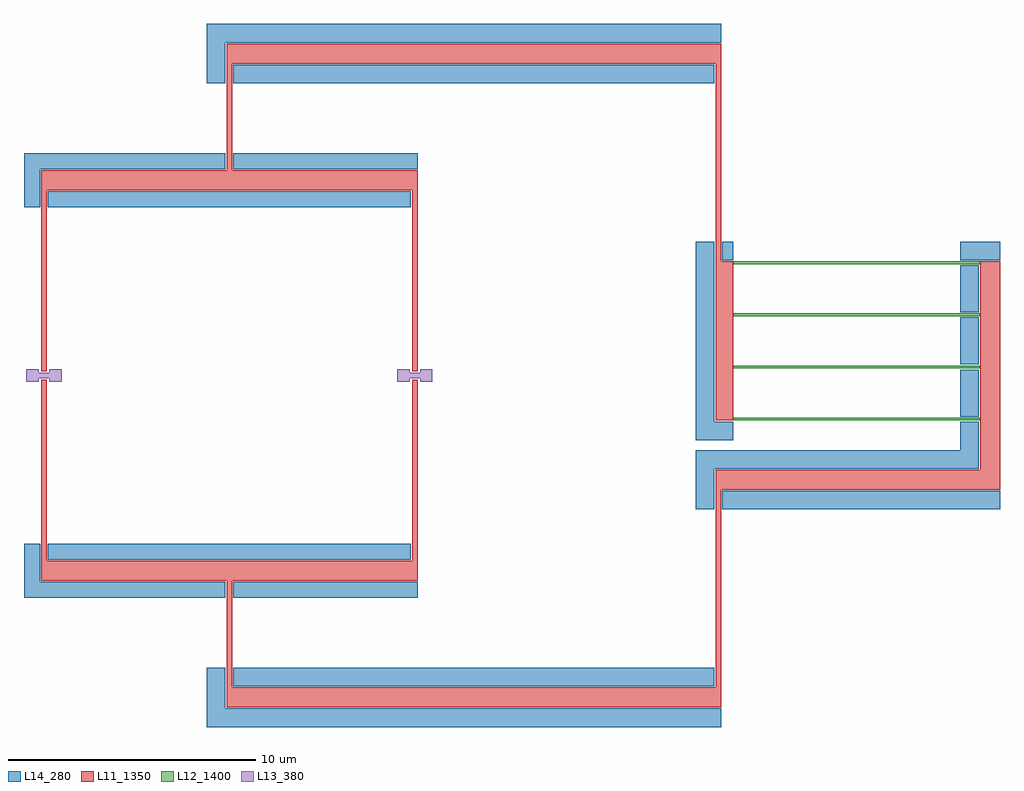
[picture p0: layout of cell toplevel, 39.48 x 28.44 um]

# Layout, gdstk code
from math import pi, radians
import gdstk
lib = gdstk.Library(unit=1e-6, precision=1e-09)
def R(c, l, rs):  # rectangles x0, y0, x1, y1
    for r in rs: c.add(gdstk.rectangle(r[:2], r[2:], *l))
def A(c, l, x, y, w, h, nx, ny, dx, dy):  # array of equal rectangles
    R(c, l, [(x+i*dx, y+j*dy, x+i*dx+w, y+j*dy+h) for i in range(nx) for j in range(ny)])
def P(c, l, *ps):  # polygons
    for p in ps: c.add(gdstk.Polygon(p, *l))
L11_1350 = (11, 1350)
L12_1400 = (12, 1400)
L13_380 = (13, 380)
L14_280 = (14, 280)

boolean010 = lib.new_cell('boolean010')
R(boolean010, L11_1350, [(-0.11,-7.5,0.11,-0.175), (-0.11,0.175,0.11,7.5)])

junction = lib.new_cell('Junction')
junction.add(gdstk.Reference(boolean010, (0,0)))

boolean011 = lib.new_cell('boolean011')
P(boolean011, L13_380, [(-0.71,0.25),(-0.71,-0.25),(-0.21,-0.25),(-0.21,-0.11),(0.21,-0.11),(0.21,-0.25),(0.71,-0.25),(0.71,0.25),(0.21,0.25),(0.21,0.11),(-0.21,0.11),(-0.21,0.25)])

josephson_junction = lib.new_cell('Josephson Junction')
josephson_junction.add(gdstk.Reference(junction, (0,0)))
josephson_junction.add(gdstk.Reference(boolean011, (0,0)))

boolean014 = lib.new_cell('boolean014')
R(boolean014, L11_1350, [(-0.11,-7.5,0.11,-0.175), (-0.11,0.175,0.11,7.5)])

junction013 = lib.new_cell('Junction013')
junction013.add(gdstk.Reference(boolean014, (0,0)))

boolean015 = lib.new_cell('boolean015')
P(boolean015, L13_380, [(-0.71,0.25),(-0.71,-0.25),(-0.21,-0.25),(-0.21,-0.11),(0.21,-0.11),(0.21,-0.25),(0.71,-0.25),(0.71,0.25),(0.21,0.25),(0.21,0.11),(-0.21,0.11),(-0.21,0.25)])

josephson_junction012 = lib.new_cell('Josephson Junction012')
josephson_junction012.add(gdstk.Reference(junction013, (0,0)))
josephson_junction012.add(gdstk.Reference(boolean015, (0,0)))

rectangle016 = lib.new_cell('rectangle016')
R(rectangle016, L11_1350, [(0,0,15.22,0.8)])

island = lib.new_cell('Island')
island.add(gdstk.Reference(rectangle016, (0,0)))

top_island = lib.new_cell('Top island')
top_island.add(gdstk.Reference(island, (-0.11,7.5)))

rectangle018 = lib.new_cell('rectangle018')
R(rectangle018, L11_1350, [(0,0,15.22,0.8)])

island017 = lib.new_cell('Island017')
island017.add(gdstk.Reference(rectangle018, (0,0)))

bot_island = lib.new_cell('Bot island')
bot_island.add(gdstk.Reference(island017, (-0.11,-8.3)))

rectangle019 = lib.new_cell('rectangle019')
R(rectangle019, L11_1350, [(0,-4.32,0.22,0)])

connector = lib.new_cell('Connector')
connector.add(gdstk.Reference(rectangle019, (0,0)))

top_connector = lib.new_cell('Top connector')
top_connector.add(gdstk.Reference(connector, (7.39,12.62)))

rectangle021 = lib.new_cell('rectangle021')
R(rectangle021, L11_1350, [(0,-4.32,0.22,0)])

connector020 = lib.new_cell('Connector020')
connector020.add(gdstk.Reference(rectangle021, (0,0)))

bot_connector = lib.new_cell('Bot connector')
bot_connector.add(gdstk.Reference(connector020, (7.39,-12.62), x_reflection=True))

boolean024 = lib.new_cell('boolean024')
R(boolean024, L14_280, [(7.66,-9,15.11,-8.35), (0.16,-7.45,14.84,-6.8), (0.16,6.8,14.84,7.45), (7.66,8.35,15.11,9)])
P(boolean024, L14_280, [(-0.16,8.35),(7.34,8.35),(7.34,9),(-0.81,9),(-0.81,6.8),(-0.16,6.8)],
  [(-0.81,-6.8),(-0.81,-9),(7.34,-9),(7.34,-8.35),(-0.16,-8.35),(-0.16,-6.8)])

liftoff_undercut023 = lib.new_cell('Liftoff undercut023')
liftoff_undercut023.add(gdstk.Reference(boolean024, (0,0)))

liftoff_undercut022 = lib.new_cell('Liftoff undercut022')
liftoff_undercut022.add(gdstk.Reference(liftoff_undercut023, (0,0)))

squid = lib.new_cell('Squid')
squid.add(gdstk.Reference(josephson_junction, (-7.5,0)))
squid.add(gdstk.Reference(josephson_junction012, (7.5,0)))
squid.add(gdstk.Reference(top_island, (-7.5,0)))
squid.add(gdstk.Reference(bot_island, (-7.5,0)))
squid.add(gdstk.Reference(top_connector, (-7.5,0)))
squid.add(gdstk.Reference(bot_connector, (-7.5,0)))
squid.add(gdstk.Reference(liftoff_undercut022, (-7.5,0)))

rectangle028 = lib.new_cell('rectangle028')
R(rectangle028, L11_1350, [(-0.22,-8,0,0)])

rectangle027 = lib.new_cell('rectangle027')
R(rectangle027, L11_1350, [(-20,0,0,0.8)])

connector026 = lib.new_cell('Connector026')
connector026.add(gdstk.Reference(rectangle027, (0,0)))

boolean029 = lib.new_cell('boolean029')

boolean030 = lib.new_cell('boolean030')
R(boolean030, L14_280, [(0.16,11.82,19.62,12.57)])
P(boolean030, L14_280, [(19.89,13.47),(19.89,14.22),(-0.91,14.22),(-0.91,11.82),(-0.16,11.82),(-0.16,13.47)])

connector025 = lib.new_cell('Connector025')
connector025.add(gdstk.Reference(rectangle028, (19.89,12.62)))
connector025.add(gdstk.Reference(connector026, (19.89,12.62)))
connector025.add(gdstk.Reference(boolean029, (19.89,12.62)))
connector025.add(gdstk.Reference(boolean030, (0,0)))

rectangle008 = lib.new_cell('rectangle008')
R(rectangle008, L11_1350, [(0,0,0.7,6.44)])

arm_connector = lib.new_cell('Arm connector')
arm_connector.add(gdstk.Reference(rectangle008, (-0.7,-6.33)))

c_l = lib.new_cell('L')
P(c_l, L11_1350, [(-0.4,-0.4),(11.1,-0.4),(11.1,0.4),(0.4,0.4),(0.4,8.84),(-0.4,8.84),(-0.4,-0.4)])

right_arm_connector = lib.new_cell('Right arm connector')
right_arm_connector.add(gdstk.Reference(c_l, (10.4,-8.73), rotation=pi, x_reflection=True))

arms = lib.new_cell('Arms')
arms.add(gdstk.Reference(arm_connector, (0,0)))
arms.add(gdstk.Reference(right_arm_connector, (0,0)))

rectangle = lib.new_cell('rectangle')
R(rectangle, L12_1400, [(0,0,10,0.11)])

resistive_segment = lib.new_cell('Resistive segment')
resistive_segment.add(gdstk.Reference(rectangle, (0,0)))

rectangle003 = lib.new_cell('rectangle003')
R(rectangle003, L12_1400, [(0,0,10,0.11)])

resistive_segment002 = lib.new_cell('Resistive segment002')
resistive_segment002.add(gdstk.Reference(rectangle003, (0,-2.11)))

rectangle005 = lib.new_cell('rectangle005')
R(rectangle005, L12_1400, [(0,0,10,0.11)])

resistive_segment004 = lib.new_cell('Resistive segment004')
resistive_segment004.add(gdstk.Reference(rectangle005, (0,-4.22)))

rectangle007 = lib.new_cell('rectangle007')
R(rectangle007, L12_1400, [(0,0,10,0.11)])

resistive_segment006 = lib.new_cell('Resistive segment006')
resistive_segment006.add(gdstk.Reference(rectangle007, (0,-6.33)))

resistive_segments = lib.new_cell('Resistive segments')
resistive_segments.add(gdstk.Reference(resistive_segment, (0,0)))
resistive_segments.add(gdstk.Reference(resistive_segment002, (0,0)))
resistive_segments.add(gdstk.Reference(resistive_segment004, (0,0)))
resistive_segments.add(gdstk.Reference(resistive_segment006, (0,0)))

boolean = lib.new_cell('boolean')

undercut = lib.new_cell('Undercut')
undercut.add(gdstk.Reference(boolean, (-0.7,-6.33)))

boolean009 = lib.new_cell('boolean009')

liftoff_undercut = lib.new_cell('Liftoff undercut')
liftoff_undercut.add(gdstk.Reference(undercut, (0,0)))
liftoff_undercut.add(gdstk.Reference(boolean009, (0,0)))

boolean031 = lib.new_cell('boolean031')
A(boolean031, L14_280, 29.57, -1.66, 0.75, 1.9, 1, 3, 0, 2.11)
R(boolean031, L14_280, [(19.94,-5.42,31.17,-4.67), (19.94,4.67,20.37,5.42), (29.57,4.67,31.17,5.42)])
P(boolean031, L14_280, [(18.87,5.42),(18.87,-2.62),(20.37,-2.62),(20.37,-1.87),(19.62,-1.87),(19.62,5.42)],
  [(30.32,-3.77),(30.32,-1.87),(29.57,-1.87),(29.57,-3.02),(18.87,-3.02),(18.87,-5.42),(19.62,-5.42),(19.62,-3.77)])

resistor = lib.new_cell('Resistor')
resistor.add(gdstk.Reference(arms, (20.37,4.51)))
resistor.add(gdstk.Reference(resistive_segments, (20.37,4.51)))
resistor.add(gdstk.Reference(liftoff_undercut, (20.37,4.51)))
resistor.add(gdstk.Reference(boolean031, (0,0)))

toplevel = lib.new_cell('toplevel')
toplevel.add(gdstk.Reference(squid, (0,0)))
toplevel.add(gdstk.Reference(connector025, (0,0)))
toplevel.add(gdstk.Reference(connector025, (0,0), x_reflection=True))
toplevel.add(gdstk.Reference(resistor, (0,0)))

lib.write_gds('toplevel.gds')
